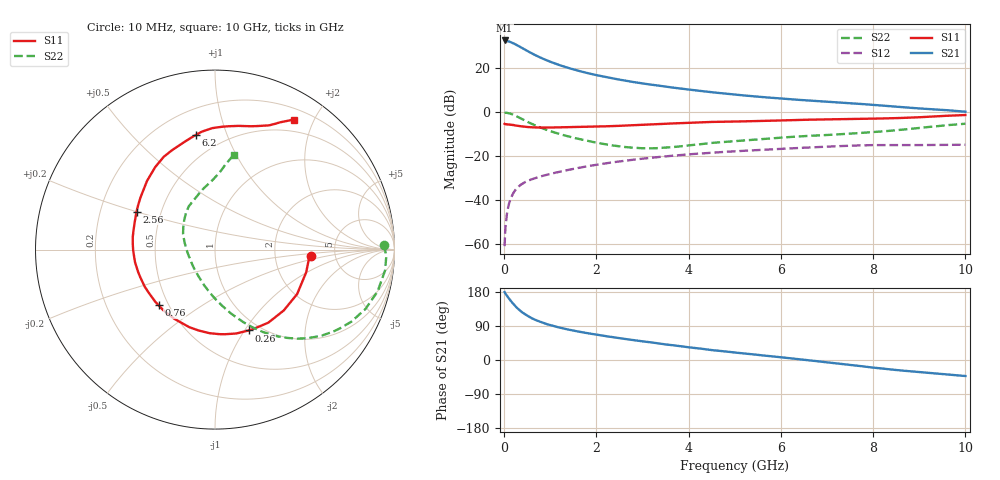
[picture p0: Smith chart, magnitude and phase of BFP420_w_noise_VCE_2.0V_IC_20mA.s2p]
! Infineon Technologies  Discrete & RF Semiconductors
! BFP420
! VCE =  2.0 V,  IC =  20 mA
! Common Emitter S-Parameters:  Jan 2016
# GHz  S  MA  R  50
!  f  S11  S21  S12  S22
! GHz  MAG  ANG  MAG  ANG  MAG  ANG  MAG  ANG
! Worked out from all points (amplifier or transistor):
!   233 points, 10 MHz to 10 GHz, reference 50 ohm
!   highest |S21| = 32.4 dB at 10 MHz (marker M1)
!   |S21| within 3 dB of that: start of sweep to 353.8 MHz
!   unconditionally stable (mu >= 1): 1.795 GHz to end of sweep
!   at 200 MHz: K = 0.23, MSG = 34.0 dB, |S12| = -36.8 dB
!   at 1.74 GHz: K = 0.99, MSG = 21.4 dB, |S12| = -24.9 dB
!   at 10 GHz: K = 1.07, MAG = 5.9 dB, |S12| = -14.9 dB
!   lowest NFmin = 1.23 dB at 900 MHz
!   S11 on the Smith chart (normalised r, x): 10 MHz: 3.27, -0.31; 260 MHz: 0.88, -1.04; 760 MHz: 0.44, -0.34; 2.56 GHz: 0.36, +0.20; 6.2 GHz: 0.36, +0.78; 10 GHz: 0.34, +1.73
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0.01  0.5353 -3.6  41.59 179.1  0.0009 97.7  0.9429 1.6
0.02  0.5256 -6.0  40.76 176.5  0.0017 90.2  0.955 -2.4
0.075  0.5178 -21.2  39.95 167.1  0.0059 81.3  0.9429 -10.7
0.1  0.5204 -28.4  39.63 162.9  0.0079 79.1  0.9353 -14.5
0.15  0.5116 -41.5  37.98 154.9  0.0113 74.9  0.9015 -21.5
0.2  0.504 -53.8  36.02 147.7  0.0145 70.8  0.8591 -27.9
0.26  0.4879 -67.4  33.33 139.9  0.0178 66.3  0.8029 -34.6
0.3  0.4822 -75.8  31.69 135.0  0.0197 64.0  0.7652 -38.7
0.36  0.4718 -86.9  29.19 128.9  0.0222 61.0  0.7099 -44.1
0.5  0.4554 -108.3  24.09 116.9  0.0269 56.5  0.5971 -54.1
0.6  0.4475 -120.4  21.16 110.1  0.0296 54.6  0.5325 -59.7
0.76  0.4415 -135.4  17.51 101.9  0.0335 53.1  0.452 -66.8
0.9  0.4407 -146.0  15.07 95.6  0.0368 52.3  0.3974 -72.4
1.1  0.4435 -157.8  12.49 88.6  0.0414 51.9  0.3385 -79.4
1.68  0.4574 178.5  8.175 73.5  0.0552 50.3  0.2349 -98.6
2.56  0.4856 154.2  5.238 56.6  0.0765 45.1  0.1619 -132.2
3.4  0.5309 136.6  3.85 42.9  0.0957 38.3  0.152 -170.5
5.1  0.606 112.1  2.406 18.5  0.1293 23.1  0.2206 142.8
6.2  0.647 99.6  1.934 4.6  0.1483 13.6  0.2691 125.2
6.8  0.6698 93.3  1.751 -3.4  0.159 7.9  0.2916 116.5
8.4  0.7157 73.8  1.334 -25.2  0.1763 -9.8  0.3745 94.3
10  0.8469 58.8  1.007 -42.3  0.1796 -22.0  0.5379 78.8
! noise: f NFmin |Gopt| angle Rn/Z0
0.9  1.23  0.16  -154  0.13
1.8  1.51  0.24  -144  0.13
2.4  1.66  0.22  -141  0.15
3  1.69  0.3  -132  0.16
4  1.82  0.42  -115  0.23
5  2.28  0.48  -96  0.37
6  2.65  0.52  -86  0.56
